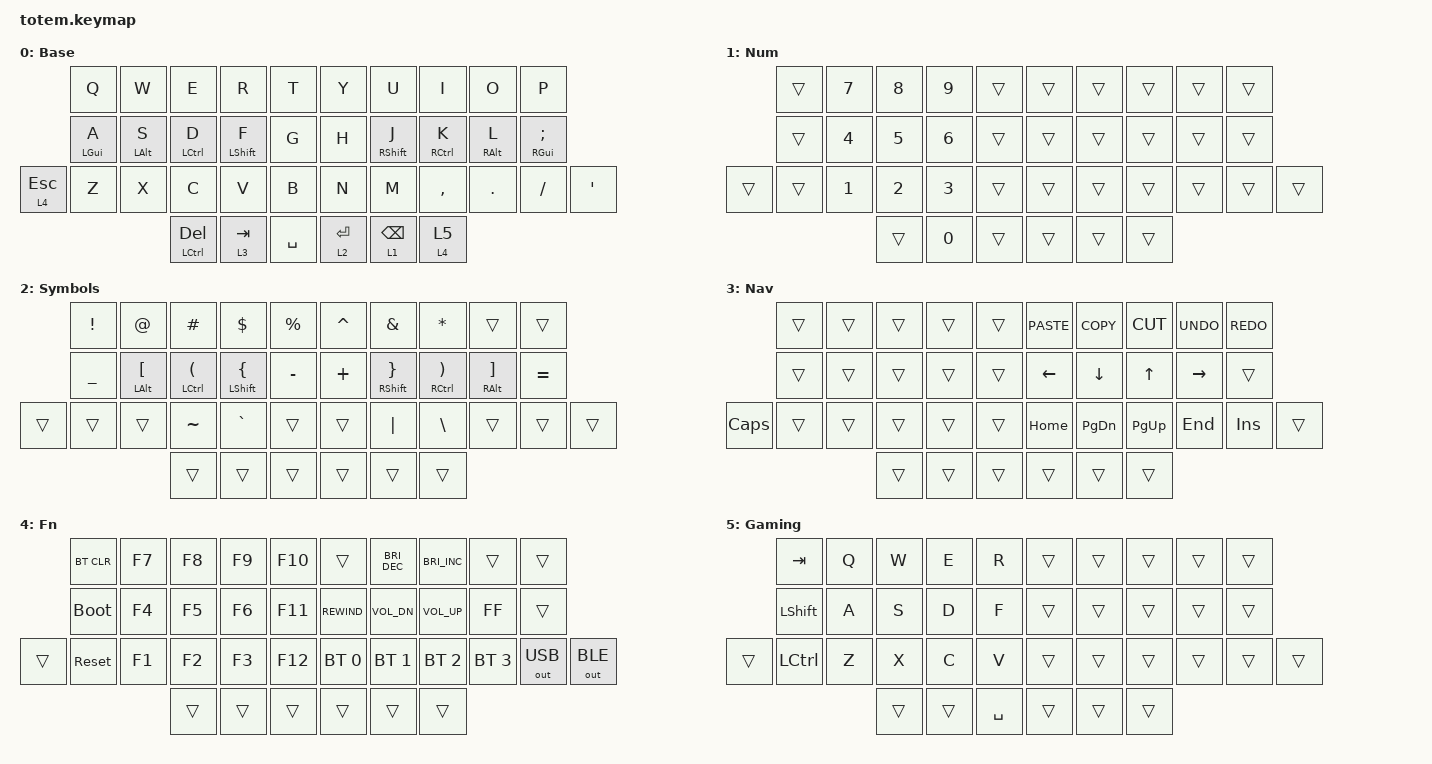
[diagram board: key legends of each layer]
//
//                                                        ▀▀▀▀▀     ▀▀▀▀▀          ▀▀█▀▀
//                                                        ▄▀▀▀▄  ▄  ▄▀▀▀▄  ▄  ▄▀▀▀▄  █  ▄▀▀▀▄
//                                                        █   █  █  █   █  █  █   █  █  █   █
//                                                         ▀▀▀   █   ▀▀▀   █   ▀▀▀   ▀   ▀▀▀
//                                                               █      ▄▄▄█▄▄▄    █   █  
//                                                               ▀      █  █  █     █▄█
//                                                             ▀▀▀▀▀    █  █  █      ▀
//                                                                      ▀  ▀  ▀
//
// ▄▄▄▄▄▄▄▄▄▄▄▄▄▄▄▄▄▄▄▄▄▄▄▄▄▄▄▄▄▄▄▄▄▄▄▄▄▄▄▄▄▄▄▄▄▄▄▄▄▄▄▄▄▄▄▄▄▄▄▄▄▄▄▄▄▄▄▄▄▄▄▄▄▄▄▄▄▄▄▄▄▄▄▄▄▄▄▄▄▄▄▄▄▄▄▄▄▄▄▄▄▄▄▄▄▄▄▄▄▄▄▄▄▄▄▄▄▄▄▄▄▄▄▄▄▄▄▄▄▄▄▄▄▄▄▄▄▄▄▄▄▄▄▄▄▄▄▄▄

#include <behaviors.dtsi>
#include "zmk-helpers/helper.h"
#include "zmk-helpers/key-labels/totem.h"
#include <dt-bindings/zmk/bt.h>
#include <dt-bindings/zmk/ext_power.h>
#include <dt-bindings/zmk/keys.h>
#include <dt-bindings/zmk/outputs.h>

#define Base        0
#define Num         1
#define Symbols     2
#define Nav         3
#define Fn          4
#define Gaming      5

#define KEYS_L LT0 LT1 LT2 LT3 LT4 LM0 LM1 LM2 LM3 LM4 LB0 LB1 LB2 LB3 LB4 LB5 // Left-hand keys.
#define KEYS_R RT0 RT1 RT2 RT3 RT4 RM0 RM1 RM2 RM3 RM4 RB0 RB1 RB2 RB3 RB4 RB5 // Right-hand keys.
#define THUMBS LH2 LH1 LH0 RH0 RH1 RH2   
&mt {
    quick-tap-ms = <150>;
    global-quick-tap;
    flavor = "tap-preferred";
    tapping-term-ms = <200>;
};

&lt {
  flavor = "balanced";
  tapping-term-ms = <200>;
  quick-tap-ms = <150>;
};

/ {
	behaviors {
        lt_tog: layer_tap_toggle {
            compatible = "zmk,behavior-hold-tap";
            #binding-cells = <2>;
            flavor = "balanced";
            tapping-term-ms = <200>;
            quick-tap-ms = <150>;
            bindings = <&mo>, <&tog>;
        };
		hml: home_row_mod_left {
			compatible = "zmk,behavior-hold-tap";
			#binding-cells = <2>;
			flavor = "balanced";
			require-prior-idle-ms = <120>;
			tapping-term-ms = <200>;
			quick-tap-ms = <150>;
			bindings = <&kp>, <&kp>;
			hold-trigger-key-positions = <KEYS_R THUMBS>; // List of keys on the right side of the keyboard
			hold-trigger-on-release;
		};
		hmr: home_row_mod_right {
			compatible = "zmk,behavior-hold-tap";
			#binding-cells = <2>;
			flavor = "balanced";
			require-prior-idle-ms = <120>;
			tapping-term-ms = <200>;
			quick-tap-ms = <150>;
			bindings = <&kp>, <&kp>;
			hold-trigger-key-positions = <KEYS_L THUMBS>; // List of keys on the left side of the keyboard
			hold-trigger-on-release;
		};
	};

    combos {
        compatible = "zmk,combos";

        combo_caps_word {
            timeout-ms = <50>;
            require-prior-idle-ms = <150>;  // won't fire mid-typing burst
            key-positions = <LM3 RM3>;
            bindings = <&caps_word>;
        };
    };

keymap {
        compatible = "zmk,keymap";

        Base {
            display-name = "Base";
            bindings = <
            &kp Q        &kp W        &kp E             &kp R          &kp T          &kp Y         &kp U            &kp I         &kp O        &kp P
            &hml LGUI A  &hml LALT S  &hml LCTRL D      &hml LSHIFT F  &kp G          &kp H         &hmr RSHFT J     &hmr RCTRL K  &hmr RALT L  &hmr RGUI SEMICOLON
&lt 4 ESCAPE  &kp Z        &kp X        &kp C             &kp V          &kp B          &kp N         &kp M            &kp COMMA     &kp DOT      &kp SLASH            &kp APOSTROPHE
                                      &mt LCTRL DELETE  &lt 3 TAB      &kp SPACE    &lt 2 RETURN  &lt 1 BACKSPACE  &lt_tog 4 5
            >;
        };
        Num {
            display-name = "Num";
            bindings = <
        &trans  &kp N7  &kp N8  &kp N9  &trans   &trans  &trans  &trans &trans &trans 
        &trans  &kp N4  &kp N5  &kp N6  &trans   &trans  &trans  &trans &trans &trans
&trans  &trans  &kp N1  &kp N2  &kp N3  &trans   &trans  &trans  &trans &trans &trans &trans
                        &trans  &kp N0  &trans   &trans  &trans  &trans
            >;
        };

        Symbols {
            display-name = "Symbols";
            bindings = <
        &kp EXCLAMATION &kp AT_SIGN            &kp HASH                           &kp DOLLAR            &kp PERCENT       &kp CARET &kp AMPERSAND                  &kp ASTERISK                         &trans                        &trans
        &kp UNDERSCORE  &hml LALT LEFT_BRACKET &hml LEFT_CONTROL LEFT_PARENTHESIS &hml LSHFT LEFT_BRACE &kp MINUS         &kp PLUS  &hmr RIGHT_SHIFT RIGHT_BRACE   &hmr RIGHT_CONTROL RIGHT_PARENTHESIS &hmr RIGHT_ALT RIGHT_BRACKET  &kp EQUAL
&trans  &trans          &trans                 &kp TILDE                          &kp GRAVE             &trans            &trans    &kp PIPE                       &kp BACKSLASH                        &trans                        &trans    &trans
                                               &trans                             &trans                &trans            &trans    &trans                         &trans
            >;
        };

        Nav {
            display-name = "Nav";
            bindings = <
          &trans  &trans  &trans  &trans  &trans    &kp K_PASTE  &kp K_COPY      &kp K_CUT     &kp K_UNDO  &kp K_REDO
          &trans  &trans  &trans  &trans  &trans    &kp LEFT     &kp DOWN_ARROW  &kp UP_ARROW  &kp RIGHT   &trans
&kp CAPS  &trans  &trans  &trans  &trans  &trans    &kp HOME     &kp PG_DN       &kp PG_UP     &kp END     &kp INS     &trans
                          &trans  &trans  &trans    &trans       &trans          &trans
            >;
        };

        Fn {
            bindings = <
        &bt BT_CLR   &kp F7  &kp F8  &kp F9  &kp F10    &trans        &kp C_BRIGHTNESS_DEC  &kp C_BRIGHTNESS_INC  &trans        &trans
        &bootloader  &kp F4  &kp F5  &kp F6  &kp F11    &kp C_REWIND  &kp C_VOL_DN          &kp C_VOL_UP          &kp C_FF      &trans
&trans  &sys_reset   &kp F1  &kp F2  &kp F3  &kp F12    &bt BT_SEL 0  &bt BT_SEL 1          &bt BT_SEL 2          &bt BT_SEL 3  &out OUT_USB  &out OUT_BLE
                             &trans  &trans  &trans     &trans        &trans                &trans
            >;

            display-name = "Fn";
        };

        Gaming {
            bindings = <
        &kp TAB           &kp Q  &kp W   &kp E   &kp R        &trans  &trans  &trans  &trans  &trans
        &kp LEFT_SHIFT    &kp A  &kp S   &kp D   &kp F        &trans  &trans  &trans  &trans  &trans
&trans  &kp LEFT_CONTROL  &kp Z  &kp X   &kp C   &kp V        &trans  &trans  &trans  &trans  &trans  &trans
                                 &trans  &trans  &kp SPACE    &trans  &trans  &trans
            >;

            display-name = "Gaming";
        };
    };
};
